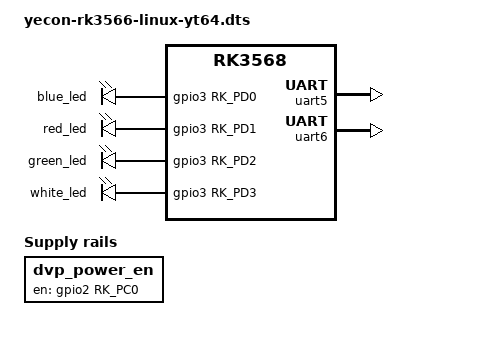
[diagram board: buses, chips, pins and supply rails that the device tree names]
// SPDX-License-Identifier: (GPL-2.0+ OR MIT)
/*
 * Copyright (c) 2020 Rockchip Electronics Co., Ltd.
 *
 */

/dts-v1/;

#include "rk3568.dtsi"
#include "rk3568-linux.dtsi"
#include "yecon-rk3566/yecon-rk3566-evb-linux.dtsi"
#include "yecon-rk3566/yecon-wifi-bt.dtsi"
#include "yecon-rk3566/yecon-lcd-mipi1-8inch.dtsi"
#include "yecon-rk3566/yecon-lcd-hdmi.dtsi"

/ {
    compatible = "rockchip,rk3568";

    dvp_power_en: dvp-power-en {
        compatible = "regulator-fixed";
        regulator-name = "dvp_power_en";
        regulator-always-on;
        regulator-boot-on;
        gpio = <&gpio2 RK_PC0 GPIO_ACTIVE_HIGH>;
        enable-active-high;
    };

    gpio_leds {
		compatible = "gpio-leds";
		status = "okay";

		blue_led:blue-led {
			gpios = <&gpio3 RK_PD0 GPIO_ACTIVE_HIGH>;
			default-state = "off";
		};
        	red_led:red-led {
			gpios = <&gpio3 RK_PD1 GPIO_ACTIVE_HIGH>;
			default-state = "off";
		};
		green_led:green-led {
			gpios = <&gpio3 RK_PD2 GPIO_ACTIVE_HIGH>;
			default-state = "off";
		};
		white_led:white-led {
			gpios = <&gpio3 RK_PD3 GPIO_ACTIVE_HIGH>;
			default-state = "off";
		};
    };
};

&vcc3v3_lcd0_n {
    status = "disabled";
};

&vcc3v3_pcie {
    status = "disabled";
};

&uart5 {
    status = "okay";
    pinctrl-names = "default";
    pinctrl-0 = <&uart5m0_xfer>;
};

&uart6 {
	status = "okay";
	pinctrl-names = "default";
	pinctrl-0 = <&uart6m1_xfer>;
};
